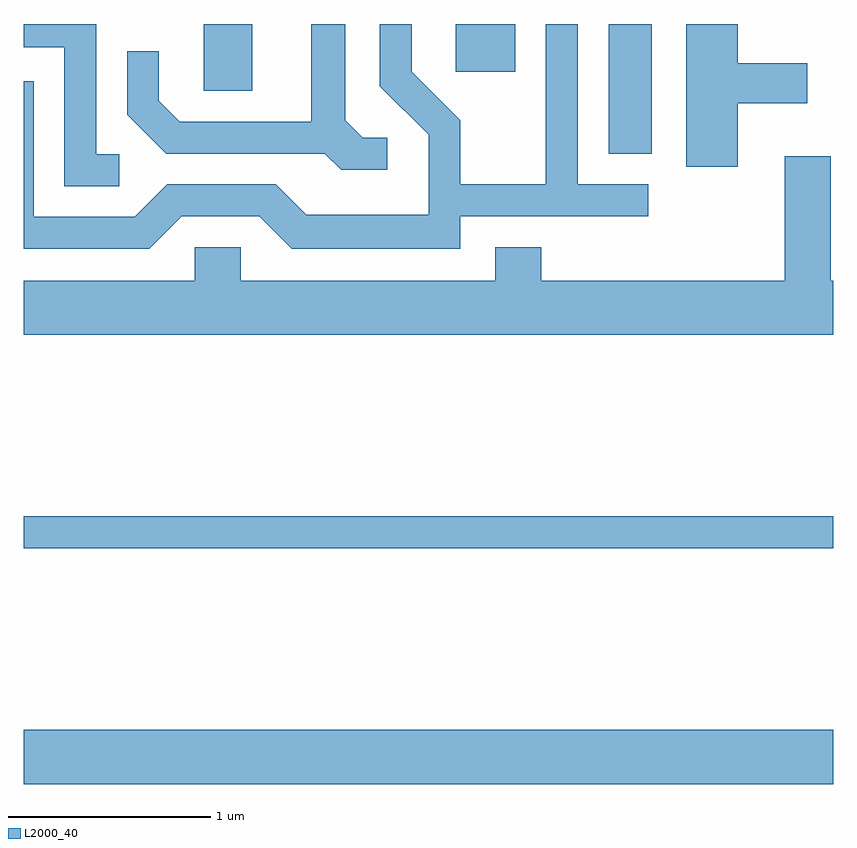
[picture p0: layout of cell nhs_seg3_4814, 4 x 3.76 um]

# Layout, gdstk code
import gdstk
lib = gdstk.Library(unit=1e-6, precision=1e-09)
def R(c, l, rs):  # rectangles x0, y0, x1, y1
    for r in rs: c.add(gdstk.rectangle(r[:2], r[2:], *l))
def P(c, l, *ps):  # polygons
    for p in ps: c.add(gdstk.Polygon(p, *l))
L2000_40 = (2000, 40)

nhs_seg3_4814 = lib.new_cell('nhs_seg3_4814')
R(nhs_seg3_4814, L2000_40, [(325.611,1228.136,329.611,1228.404), (325.611,1229.301,329.611,1229.459), (328.501,1231.251,328.714,1231.892), (326.501,1231.561,326.739,1231.892), (327.746,1231.656,328.039,1231.892)])
P(nhs_seg3_4814, L2000_40, [(327.408,1231.329),(327.287,1231.329),(327.199,1231.417),(327.199,1231.892),(327.031,1231.892),(327.031,1231.409),(326.382,1231.409),(326.279,1231.512),(326.279,1231.758),(326.121,1231.758),(326.121,1231.444),(326.314,1231.251),(327.099,1231.251),(327.179,1231.171),(327.408,1231.171)],
  [(326.392,1230.941),(326.774,1230.941),(326.934,1230.781),(327.769,1230.781),(327.769,1230.941),(328.698,1230.941),(328.698,1231.099),(328.349,1231.099),(328.349,1231.892),(328.191,1231.892),(328.191,1231.099),(327.769,1231.099),(327.769,1231.417),(327.529,1231.657),(327.529,1231.892),(327.371,1231.892),(327.371,1231.584),(327.611,1231.344),(327.611,1230.949),(327.007,1230.949),(326.857,1231.099),(326.319,1231.099),(326.159,1230.939),(325.659,1230.939),(325.659,1231.609),(325.611,1231.609),(325.611,1230.781),(326.232,1230.781)],
  [(329.139,1231.501),(329.484,1231.501),(329.484,1231.699),(329.139,1231.699),(329.139,1231.892),(328.886,1231.892),(328.886,1231.186),(329.139,1231.186)],
  [(326.083,1231.249),(325.969,1231.249),(325.969,1231.892),(325.611,1231.892),(325.611,1231.776),(325.811,1231.776),(325.811,1231.091),(326.083,1231.091)],
  [(329.611,1230.624),(329.599,1230.624),(329.599,1231.239),(329.371,1231.239),(329.371,1230.624),(328.169,1230.624),(328.169,1230.789),(327.941,1230.789),(327.941,1230.624),(326.684,1230.624),(326.684,1230.789),(326.456,1230.789),(326.456,1230.624),(325.611,1230.624),(325.611,1230.356),(329.611,1230.356)])

lib.write_gds('nhs_seg3_4814.gds')
